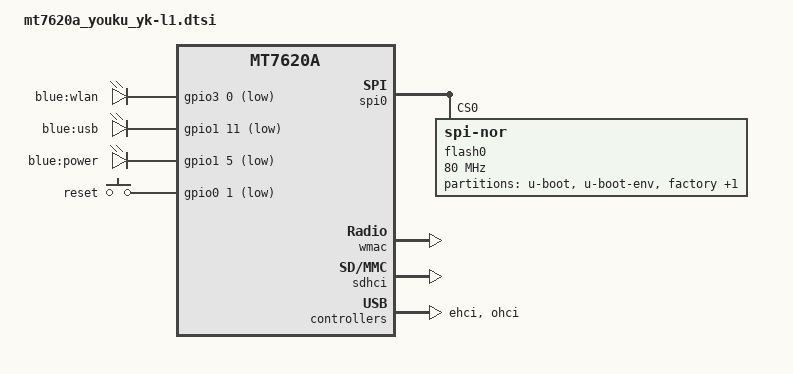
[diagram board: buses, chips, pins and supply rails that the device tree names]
#include "mt7620a.dtsi"

#include <dt-bindings/gpio/gpio.h>
#include <dt-bindings/input/input.h>

/ {
	aliases {
		led-boot = &led_power;
		led-failsafe = &led_power;
		led-running = &led_power;
		led-upgrade = &led_power;
		label-mac-device = &ethernet;
	};

	leds {
		compatible = "gpio-leds";

		wlan {
			label = "blue:wlan";
			gpios = <&gpio3 0 GPIO_ACTIVE_LOW>;
			linux,default-trigger = "phy0tpt";
		};

		usb {
			label = "blue:usb";
			gpios = <&gpio1 11 GPIO_ACTIVE_LOW>;
			trigger-sources = <&ohci_port1>, <&ehci_port1>;
			linux,default-trigger = "usbport";
		};

		led_power: power {
			label = "blue:power";
			gpios = <&gpio1 5 GPIO_ACTIVE_LOW>;
		};
	};

	keys {
		compatible = "gpio-keys";

		reset {
			label = "reset";
			gpios = <&gpio0 1 GPIO_ACTIVE_LOW>;
			linux,code = <KEY_RESTART>;
		};
	};
};

&gpio1 {
	status = "okay";
};

&gpio3 {
	status = "okay";
};

&spi0 {
	status = "okay";

	flash0: flash@0 {
		compatible = "jedec,spi-nor";
		reg = <0>;
		spi-max-frequency = <80000000>;
		m25p,fast-read;

		partitions {
			compatible = "fixed-partitions";
			#address-cells = <1>;
			#size-cells = <1>;

			partition@0 {
				label = "u-boot";
				reg = <0x0 0x30000>;
				read-only;
			};

			partition@30000 {
				label = "u-boot-env";
				reg = <0x30000 0x10000>;
				read-only;
			};

			factory: partition@40000 {
				label = "factory";
				reg = <0x40000 0x10000>;
				read-only;
			};

			firmware: partition@50000 {
				compatible = "denx,uimage";
				label = "firmware";
				/* reg property is set based on flash size in DTS files */
			};
		};
	};
};

&state_default {
	default {
		groups = "i2c", "rgmii1", "wled";
		function = "gpio";
	};
};

&ethernet {
	pinctrl-names = "default";
	pinctrl-0 = <&ephy_pins>;

	nvmem-cells = <&macaddr_factory_28>;
	nvmem-cell-names = "mac-address";

	mediatek,portmap = "llllw";
};

&wmac {
	ralink,mtd-eeprom = <&factory 0x0>;
};

&sdhci {
	status = "okay";
};

&ehci {
	status = "okay";
};

&ohci {
	status = "okay";
};

&factory {
	compatible = "nvmem-cells";
	#address-cells = <1>;
	#size-cells = <1>;

	macaddr_factory_28: macaddr@28 {
		reg = <0x28 0x6>;
	};
};
